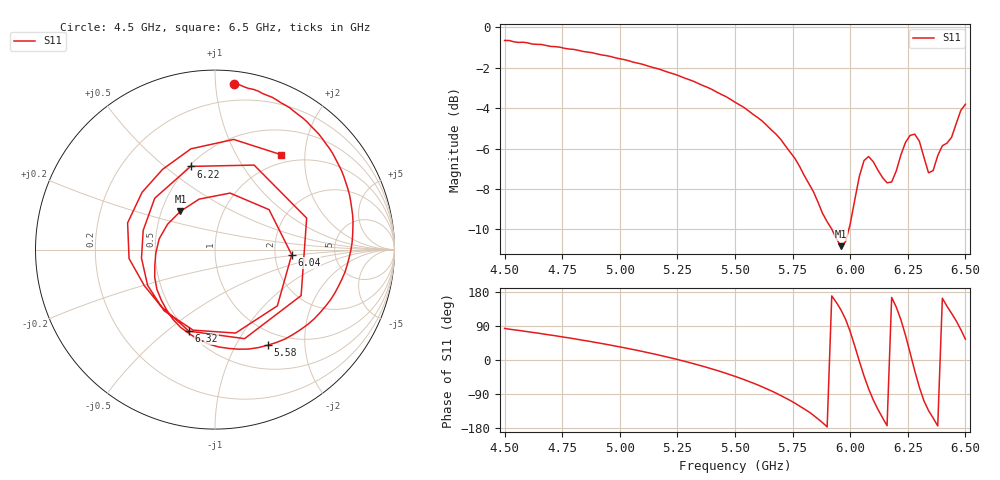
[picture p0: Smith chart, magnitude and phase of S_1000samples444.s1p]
! TOUCHSTONE file generated by CST MICROWAVE STUDIO
! Date and time: Fri Oct 28 04:54:22 2022
! Project name: L.cst
! Parameters = {Di=1.27; Epsilon_r=1.56; InnerDiameter=1.27; Length=2; Lf=10; Lg=60; OuterConductorThickness=0.2921; OuterDiameter=3.6; Wf=3; Wp=41.2; de=1.5; df=6.8; g=0.8; gx=3.00798; gy=2.83292; h=2.34; hf=1.524; px=11.8212; py=14.0632; w=9.7; wx=8.81323; wy=11.2303}
! Header version: 2018
! Port assignment regex: !\s*Touchstone port\s*([0-9]+)\s*=\s*(CST MWS port|CST DS port)\s*([0-9]+|Zmin|Zmax)\s*\(\"(.*)\"\)(\s*mode\s*([0-9]+))?.*
! Touchstone port assignment:
! Touchstone port 1 = CST MWS port 1 ("")
# GHz S DB R 50
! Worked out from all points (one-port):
!   101 points, 4.5 GHz to 6.5 GHz, reference 50 ohm
!   lowest |S11| = -10.8 dB at 5.96 GHz (marker M1), VSWR 1.81, Z = 31.3 + j14.5 ohm
!   |S11| at or under -10 dB: 5.921 GHz to 5.994 GHz (73.41 MHz wide, 1.23 % of centre)
!   S11 on the Smith chart (normalised r, x): 4.5 GHz: 0.08, +1.12; 5.58 GHz: 0.80, -1.36; 6.04 GHz: 2.48, -0.17; 6.22 GHz: 0.51, +0.62; 6.32 GHz: 0.51, -0.60; 6.5 GHz: 0.86, +1.56
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4.5  -0.65 83.3
4.76  -1.04 60.0
5  -1.56 34.6
5.26  -2.42 -0.2
5.5  -3.71 -43.2
5.58  -4.32 -61.2
5.76  -6.49 -113.9
5.86  -8.65 -155.4
5.96  -10.83 132.0
6  -9.74 75.1
6.02  -8.53 36.5
6.04  -7.36 -3.8
6.06  -6.60 -42.0
6.08  -6.40 -76.1
6.1  -6.65 -105.2
6.16  -7.70 -173.4
6.2  -7.11 139.5
6.22  -6.32 106.3
6.24  -5.70 65.2
6.26  -5.35 19.0
6.28  -5.29 -28.1
6.3  -5.63 -71.6
6.32  -6.43 -107.6
6.36  -7.09 -153.0
6.4  -5.86 163.0
6.46  -4.77 103.4
6.48  -4.12 80.4
6.5  -3.81 55.0
